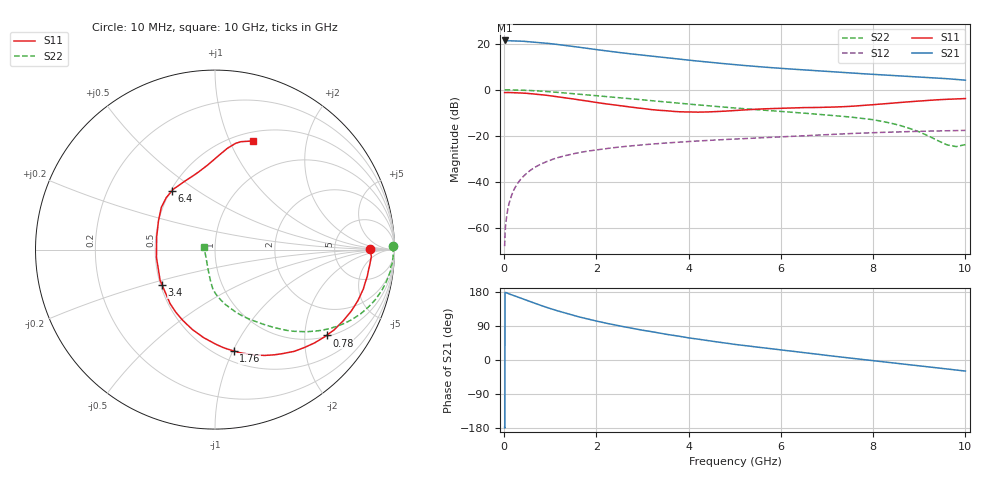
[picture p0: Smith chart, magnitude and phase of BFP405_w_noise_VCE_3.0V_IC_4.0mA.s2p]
! Infineon Technologies  Discrete & RF Semiconductors
! BFP405
! VCE =  3.0 V,  IC =  4.0 mA
! Common Emitter S-Parameters:  Jan 2016
# GHz  S  MA  R  50
!  f  S11  S21  S12  S22
! GHz  MAG  ANG  MAG  ANG  MAG  ANG  MAG  ANG
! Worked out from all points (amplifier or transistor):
!   233 points, 10 MHz to 10 GHz, reference 50 ohm
!   highest |S21| = 21.4 dB at 10 MHz (marker M1)
!   |S21| within 3 dB of that: start of sweep to 1.642 GHz
!   unconditionally stable (mu >= 1): start of sweep to 12.81 MHz; 3.669 GHz to end of sweep
!   at 200 MHz: K = 0.09, MSG = 32.5 dB, |S12| = -43.9 dB
!   at 1.74 GHz: K = 0.48, MSG = 22.5 dB, |S12| = -26.9 dB
!   at 10 GHz: K = 1.49, MAG = 6.8 dB, |S12| = -17.7 dB
!   lowest NFmin = 1.10 dB at 900 MHz
!   S11 on the Smith chart (normalised r, x): 10 MHz: 14, +0; 780 MHz: 1.03, -2.57; 1.76 GHz: 0.60, -1.01; 3.4 GHz: 0.51, -0.23; 6.4 GHz: 0.51, +0.40; 10 GHz: 0.60, +1.23
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0.01  0.8647 0.1  11.73 -177.7  0.0004 4.2  0.9917 1.0
0.02  0.8659 -0.7  11.63 178.3  0.0008 85.9  0.99 0.0
0.1  0.8686 -4.8  11.57 174.7  0.0032 86.4  0.9932 -2.2
0.26  0.8564 -12.8  11.48 167.7  0.0082 83.5  0.9828 -6.1
0.48  0.8347 -23.4  11.16 157.7  0.0151 78.4  0.9693 -11.1
0.78  0.7842 -37.6  10.55 144.8  0.0238 71.6  0.9338 -17.6
1  0.7392 -47.5  10.01 135.7  0.0295 67.1  0.9015 -21.9
1.2  0.6953 -56.3  9.479 128.2  0.0343 63.3  0.8693 -25.6
1.4  0.6511 -64.9  8.944 121.1  0.0386 59.8  0.8363 -29.0
1.68  0.5908 -76.4  8.208 112.1  0.044 55.5  0.7902 -33.2
1.76  0.574 -79.6  7.999 109.6  0.0454 54.3  0.7776 -34.3
2.16  0.5005 -95.7  7.082 98.5  0.052 49.3  0.7166 -39.3
2.48  0.452 -108.5  6.454 90.5  0.0565 45.9  0.6715 -42.9
2.96  0.3952 -128.0  5.669 79.5  0.063 41.3  0.6083 -47.9
3.4  0.3545 -146.2  5.067 70.4  0.0683 37.5  0.5535 -52.1
4  0.3291 -172.3  4.385 58.4  0.075 32.8  0.487 -57.9
5.1  0.3585 150.3  3.43 39.8  0.0857 25.2  0.3938 -68.2
6.4  0.4056 126.4  2.735 20.9  0.0989 17.6  0.3154 -78.6
6.8  0.4114 118.5  2.57 15.2  0.1033 15.0  0.293 -81.8
8.4  0.5107 89.5  2.033 -7.2  0.1201 3.0  0.1861 -96.9
9.6  0.6186 76.4  1.734 -23.7  0.1284 -5.9  0.0635 -143.9
10  0.642 70.6  1.611 -29.2  0.1307 -8.4  0.0643 166.7
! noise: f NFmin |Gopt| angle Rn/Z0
0.9  1.1  0.42  13  0.34
1.8  1.39  0.33  21  0.32
2.4  1.55  0.28  31  0.32
3  1.58  0.26  47  0.29
4  1.76  0.14  70  0.25
5  2.11  0.09  124  0.22
